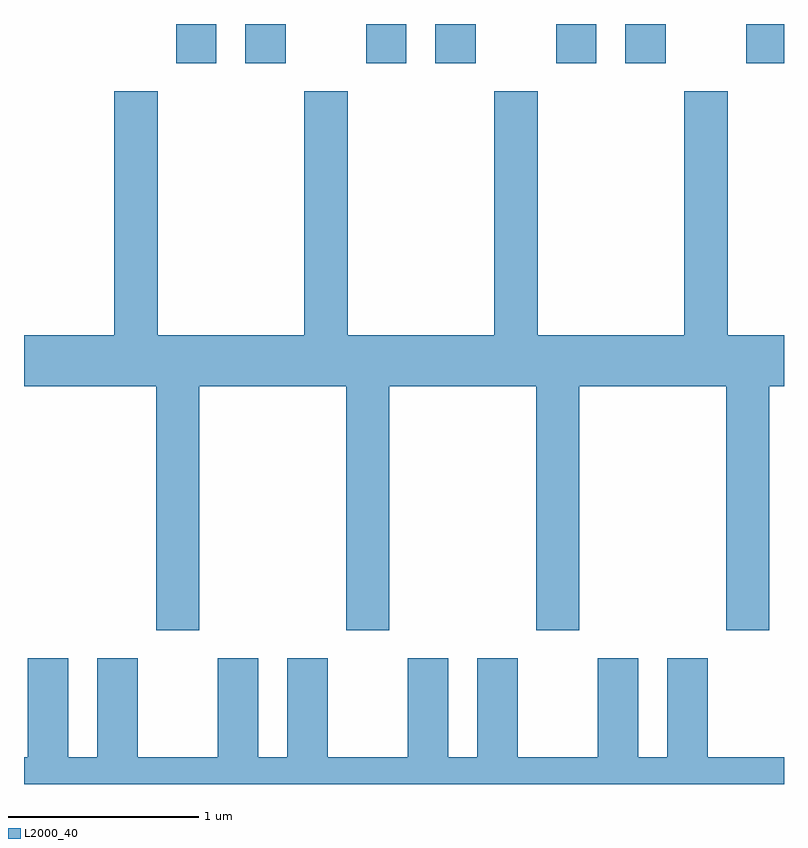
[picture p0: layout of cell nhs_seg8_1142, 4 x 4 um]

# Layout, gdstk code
import gdstk
lib = gdstk.Library(unit=1e-6, precision=1e-09)
def R(c, l, rs):  # rectangles x0, y0, x1, y1
    for r in rs: c.add(gdstk.rectangle(r[:2], r[2:], *l))
def P(c, l, *ps):  # polygons
    for p in ps: c.add(gdstk.Polygon(p, *l))
L2000_40 = (2000, 40)

nhs_seg8_1142 = lib.new_cell('nhs_seg8_1142')
R(nhs_seg8_1142, L2000_40, [(220.411,1818.136,220.624,1818.342), (220.776,1818.136,220.989,1818.342), (221.411,1818.136,221.624,1818.342), (221.776,1818.136,221.989,1818.342), (222.411,1818.136,222.624,1818.342), (222.776,1818.136,222.989,1818.342), (223.411,1818.136,223.611,1818.342)])
P(nhs_seg8_1142, L2000_40, [(220.534,1816.436),(221.306,1816.436),(221.306,1815.151),(221.534,1815.151),(221.534,1816.436),(222.306,1816.436),(222.306,1815.151),(222.534,1815.151),(222.534,1816.436),(223.306,1816.436),(223.306,1815.151),(223.534,1815.151),(223.534,1816.436),(223.611,1816.436),(223.611,1816.704),(223.314,1816.704),(223.314,1817.989),(223.086,1817.989),(223.086,1816.704),(222.314,1816.704),(222.314,1817.989),(222.086,1817.989),(222.086,1816.704),(221.314,1816.704),(221.314,1817.989),(221.086,1817.989),(221.086,1816.704),(220.314,1816.704),(220.314,1817.989),(220.086,1817.989),(220.086,1816.704),(219.611,1816.704),(219.611,1816.436),(220.306,1816.436),(220.306,1815.151),(220.534,1815.151)],
  [(223.611,1814.484),(223.209,1814.484),(223.209,1815.004),(222.996,1815.004),(222.996,1814.484),(222.844,1814.484),(222.844,1815.004),(222.631,1815.004),(222.631,1814.484),(222.209,1814.484),(222.209,1815.004),(221.996,1815.004),(221.996,1814.484),(221.844,1814.484),(221.844,1815.004),(221.631,1815.004),(221.631,1814.484),(221.209,1814.484),(221.209,1815.004),(220.996,1815.004),(220.996,1814.484),(220.844,1814.484),(220.844,1815.004),(220.631,1815.004),(220.631,1814.484),(220.209,1814.484),(220.209,1815.004),(219.996,1815.004),(219.996,1814.484),(219.844,1814.484),(219.844,1815.004),(219.631,1815.004),(219.631,1814.484),(219.611,1814.484),(219.611,1814.342),(223.611,1814.342)])

lib.write_gds('nhs_seg8_1142.gds')
